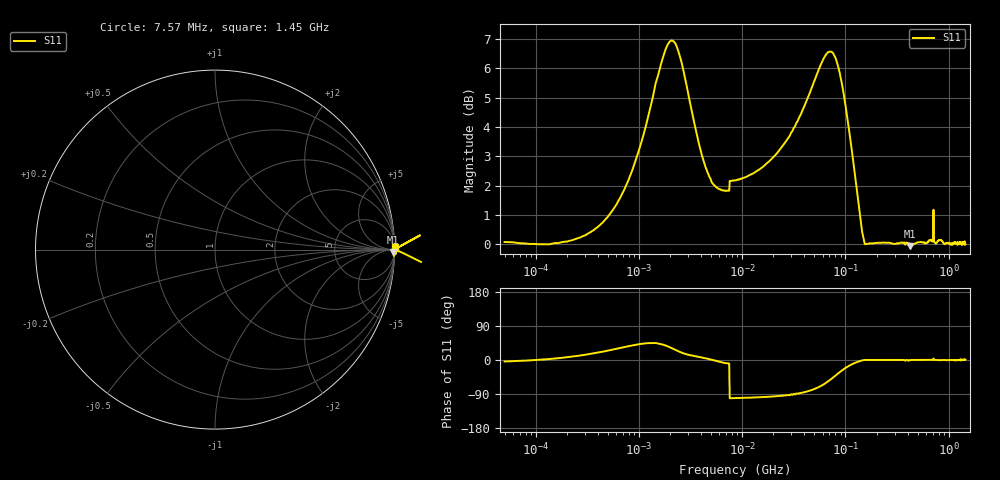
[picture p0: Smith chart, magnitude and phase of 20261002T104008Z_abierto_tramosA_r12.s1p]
! piloto_saltos / abierto_tramosA / r12
# HZ S RI R 50
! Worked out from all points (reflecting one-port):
!   501 points, 50 kHz to 1.45 GHz, reference 50 ohm
!   lowest |S11| = -0.1 dB at 424 MHz (marker M1), VSWR 275.25, Z = 3.46e+03 - j5.97e+03 ohm
!   phase of S11 starts at -4 deg and turns +5 deg over the sweep
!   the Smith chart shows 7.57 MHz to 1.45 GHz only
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50000  1.007 -0.0704
183000  1.004 0.1065
373000  1.009 0.3294
658000  1.021 0.6302
1180000  1.15 1.116
1630000  1.503 1.355
1990000  1.844 1.228
2440000  1.957 0.8036
3430000  1.584 0.293
4960000  1.29 0.0288
7300000  1.219 -0.1926
7750000  -0.2408 -1.258
8560000  -0.2337 -1.263
1.81e7  -0.1693 -1.372
3.16e7  0.0176 -1.579
4.69e7  0.3374 -1.811
5.68e7  0.6974 -1.886
6.49e7  1.045 -1.829
7.39e7  1.399 -1.599
8.65e7  1.652 -1.098
9.82e7  1.626 -0.6728
1e8  1.61 -0.6192
1.18e8  1.378 -0.244
1.36e8  1.148 -0.0688
1.63e8  1.002 0.00138
4.06e8  0.9964 -0.0333
4.24e8  0.9927 -0.0125
1.45e9  1.001 0.0135
